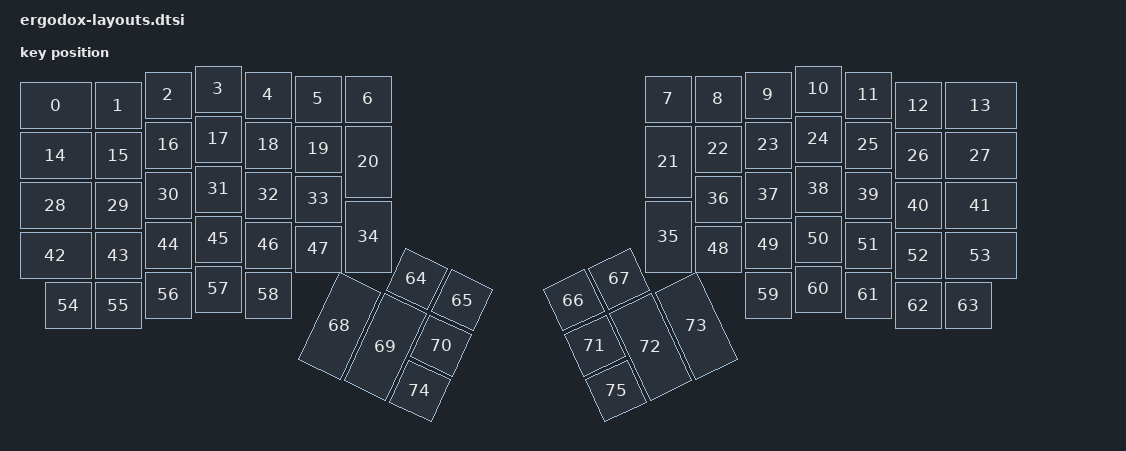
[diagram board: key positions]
#include <physical_layouts.dtsi>

/
{
    physical_layout0: physical_layout_0 {
        compatible = "zmk,physical-layout";
        display-name = "Default";
        transform = <&default_transform>;
        keys
            =             <&key_physical_attrs 150 100    0   33     0    0    0>,
            <&key_physical_attrs 100 100  150   33     0    0    0>,
            <&key_physical_attrs 100 100  250   12     0    0    0>,
            <&key_physical_attrs 100 100  350    0     0    0    0>,
            <&key_physical_attrs 100 100  450   12     0    0    0>,
            <&key_physical_attrs 100 100  550   20     0    0    0>,
            <&key_physical_attrs 100 100  650   20     0    0    0>,
            <&key_physical_attrs 100 100 1250   20     0    0    0>,
            <&key_physical_attrs 100 100 1350   20     0    0    0>,
            <&key_physical_attrs 100 100 1450   12     0    0    0>,
            <&key_physical_attrs 100 100 1550    0     0    0    0>,
            <&key_physical_attrs 100 100 1650   12     0    0    0>,
            <&key_physical_attrs 100 100 1750   33     0    0    0>,
            <&key_physical_attrs 150 100 1850   33     0    0    0>,
            <&key_physical_attrs 150 100    0  133     0    0    0>,
            <&key_physical_attrs 100 100  150  133     0    0    0>,
            <&key_physical_attrs 100 100  250  112     0    0    0>,
            <&key_physical_attrs 100 100  350  100     0    0    0>,
            <&key_physical_attrs 100 100  450  112     0    0    0>,
            <&key_physical_attrs 100 100  550  120     0    0    0>,
            <&key_physical_attrs 100 150  650  120     0    0    0>,
            <&key_physical_attrs 100 150 1250  120     0    0    0>,
            <&key_physical_attrs 100 100 1350  120     0    0    0>,
            <&key_physical_attrs 100 100 1450  112     0    0    0>,
            <&key_physical_attrs 100 100 1550  100     0    0    0>,
            <&key_physical_attrs 100 100 1650  112     0    0    0>,
            <&key_physical_attrs 100 100 1750  133     0    0    0>,
            <&key_physical_attrs 150 100 1850  133     0    0    0>,
            <&key_physical_attrs 150 100    0  233     0    0    0>,
            <&key_physical_attrs 100 100  150  233     0    0    0>,
            <&key_physical_attrs 100 100  250  212     0    0    0>,
            <&key_physical_attrs 100 100  350  200     0    0    0>,
            <&key_physical_attrs 100 100  450  212     0    0    0>,
            <&key_physical_attrs 100 100  550  220     0    0    0>,
            <&key_physical_attrs 100 150  650  270     0    0    0>,
            <&key_physical_attrs 100 150 1250  270     0    0    0>,
            <&key_physical_attrs 100 100 1350  220     0    0    0>,
            <&key_physical_attrs 100 100 1450  212     0    0    0>,
            <&key_physical_attrs 100 100 1550  200     0    0    0>,
            <&key_physical_attrs 100 100 1650  212     0    0    0>,
            <&key_physical_attrs 100 100 1750  233     0    0    0>,
            <&key_physical_attrs 150 100 1850  233     0    0    0>,
            <&key_physical_attrs 150 100    0  333     0    0    0>,
            <&key_physical_attrs 100 100  150  333     0    0    0>,
            <&key_physical_attrs 100 100  250  312     0    0    0>,
            <&key_physical_attrs 100 100  350  300     0    0    0>,
            <&key_physical_attrs 100 100  450  312     0    0    0>,
            <&key_physical_attrs 100 100  550  320     0    0    0>,
            <&key_physical_attrs 100 100 1350  320     0    0    0>,
            <&key_physical_attrs 100 100 1450  312     0    0    0>,
            <&key_physical_attrs 100 100 1550  300     0    0    0>,
            <&key_physical_attrs 100 100 1650  312     0    0    0>,
            <&key_physical_attrs 100 100 1750  333     0    0    0>,
            <&key_physical_attrs 150 100 1850  333     0    0    0>,
            <&key_physical_attrs 100 100   50  433     0    0    0>,
            <&key_physical_attrs 100 100  150  433     0    0    0>,
            <&key_physical_attrs 100 100  250  412     0    0    0>,
            <&key_physical_attrs 100 100  350  400     0    0    0>,
            <&key_physical_attrs 100 100  450  412     0    0    0>,
            <&key_physical_attrs 100 100 1450  412     0    0    0>,
            <&key_physical_attrs 100 100 1550  400     0    0    0>,
            <&key_physical_attrs 100 100 1650  412     0    0    0>,
            <&key_physical_attrs 100 100 1750  433     0    0    0>,
            <&key_physical_attrs 100 100 1850  433     0    0    0>,
            <&key_physical_attrs 100 100  750  270  2500  550  370>,
            <&key_physical_attrs 100 100  850  270  2500  550  370>,
            <&key_physical_attrs 100 100 1050  270 (-2500) 1450  370>,
            <&key_physical_attrs 100 100 1150  270 (-2500) 1450  370>,
            <&key_physical_attrs 100 200  650  370  2500  550  370>,
            <&key_physical_attrs 100 200  750  370  2500  550  370>,
            <&key_physical_attrs 100 100  850  370  2500  550  370>,
            <&key_physical_attrs 100 100 1050  370 (-2500) 1450  370>,
            <&key_physical_attrs 100 200 1150  370 (-2500) 1450  370>,
            <&key_physical_attrs 100 200 1250  370 (-2500) 1450  370>,
            <&key_physical_attrs 100 100  850  470  2500  550  370>,
            <&key_physical_attrs 100 100 1050  470 (-2500) 1450  370>;
    };
};
